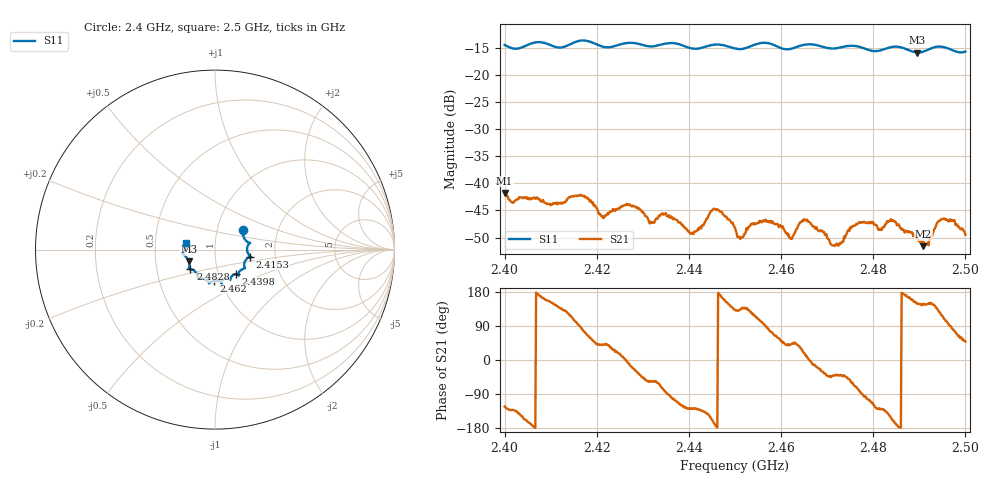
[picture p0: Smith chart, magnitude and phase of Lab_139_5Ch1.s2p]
# Hz S RI R
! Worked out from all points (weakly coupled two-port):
!   601 points, 2.4 GHz to 2.5 GHz, reference 50 ohm
!   highest |S21| = -41.80 dB at 2.4 GHz (marker M1); lowest = -51.6 dB at 2.4908 GHz (marker M2)
!   lowest |S11| = -15.9 dB at 2.4895 GHz (marker M3), VSWR 1.38, Z = 37 - j5 ohm
!   |S11| at or under -10 dB: start of sweep to end of sweep
!   S12 and S22 are empty: the file has one direction only
!   S11 on the Smith chart (normalised r, x): 2.4 GHz: 1.33, +0.29; 2.4153 GHz: 1.48, -0.12; 2.4398 GHz: 1.21, -0.34; 2.462 GHz: 0.93, -0.33; 2.4828 GHz: 0.74, -0.17; 2.5 GHz: 0.72, +0.06
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2.4e9  0.155 0.107  -0.0044 -0.00684  0 0  0 0
2.415333e9  0.1967 -0.0389  -0.00155 0.00752  0 0  0 0
2.416667e9  0.2027 -0.043  0.000785 0.00764  0 0  0 0
2.421333e9  0.1724 -0.0567  0.0037 0.00306  0 0  0 0
2.426667e9  0.1679 -0.1025  0.00629 -0.000687  0 0  0 0
2.433333e9  0.1307 -0.1337  0.00235 -0.00427  0 0  0 0
2.439833e9  0.1154 -0.1362  -0.00224 -0.00282  0 0  0 0
2.445667e9  0.0844 -0.1702  -0.0057 -0.000955  0 0  0 0
2.45e9  0.0654 -0.1625  -0.0026 0.0029  0 0  0 0
2.451333e9  0.0506 -0.1651  -0.00219 0.00227  0 0  0 0
2.456833e9  0.0394 -0.1928  0.000142 0.00447  0 0  0 0
2.462e9  -0.00512 -0.1729  0.0024 0.00198  0 0  0 0
2.464667e9  -0.0312 -0.1851  0.00419 0.00178  0 0  0 0
2.466667e9  -0.0341 -0.1881  0.00409 -0.000603  0 0  0 0
2.4715e9  -0.0639 -0.1627  0.00205 -0.00173  0 0  0 0
2.476833e9  -0.096 -0.1546  0.000862 -0.00424  0 0  0 0
2.482833e9  -0.1367 -0.1091  -0.00309 -0.00294  0 0  0 0
2.483333e9  -0.1404 -0.1088  -0.0036 -0.00267  0 0  0 0
2.4895e9  -0.146 -0.0659  -0.00262 0.0016  0 0  0 0
2.490833e9  -0.1564 -0.0471  -0.00219 0.00147  0 0  0 0
2.495e9  -0.1802 -0.0195  -0.00207 0.00419  0 0  0 0
2.5e9  -0.1592 0.0389  0.00222 0.00252  0 0  0 0
